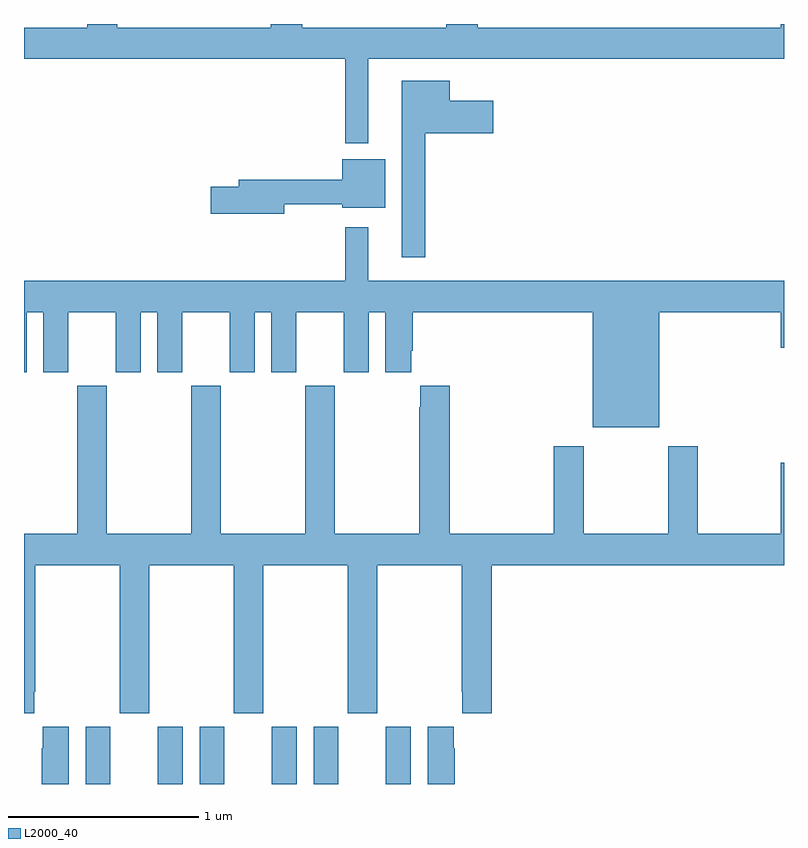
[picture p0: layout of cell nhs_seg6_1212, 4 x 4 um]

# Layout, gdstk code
import gdstk
lib = gdstk.Library(unit=1e-6, precision=1e-09)
def R(c, l, rs):  # rectangles x0, y0, x1, y1
    for r in rs: c.add(gdstk.rectangle(r[:2], r[2:], *l))
def P(c, l, *ps):  # polygons
    for p in ps: c.add(gdstk.Polygon(p, *l))
L2000_40 = (2000, 40)

nhs_seg6_1212 = lib.new_cell('nhs_seg6_1212')
R(nhs_seg6_1212, L2000_40, [(185.324,963.5,185.455,963.802), (185.705,963.5,185.836,963.802), (185.924,963.5,186.055,963.802), (186.305,963.5,186.436,963.802), (186.524,963.5,186.655,963.802), (186.905,963.5,187.036,963.802)])
P(nhs_seg6_1212, L2000_40, [(185.332,967.48),(185,967.48),(185,967.316),(186.69,967.316),(186.69,966.872),(186.811,966.872),(186.811,967.316),(189,967.316),(189,967.5),(188.984,967.5),(188.984,967.48),(187.388,967.48),(187.388,967.5),(187.223,967.5),(187.223,967.48),(186.464,967.48),(186.464,967.5),(186.299,967.5),(186.299,967.48),(185.492,967.48),(185.492,967.5),(185.332,967.5)],
  [(187.111,966.926),(187.471,966.926),(187.471,967.096),(187.24,967.096),(187.24,967.201),(186.989,967.201),(186.989,966.273),(187.111,966.273)],
  [(186.37,966.552),(186.674,966.552),(186.674,966.533),(186.901,966.533),(186.901,966.787),(186.674,966.787),(186.674,966.68),(186.131,966.68),(186.131,966.644),(185.982,966.644),(185.982,966.502),(186.37,966.502)],
  [(188.344,965.984),(188.984,965.984),(188.984,965.796),(189,965.796),(189,966.148),(186.811,966.148),(186.811,966.43),(186.69,966.43),(186.69,966.148),(185,966.148),(185,965.667),(185.014,965.667),(185.014,965.984),(185.102,965.984),(185.102,965.667),(185.233,965.667),(185.233,965.984),(185.483,965.984),(185.483,965.667),(185.614,965.667),(185.614,965.984),(185.702,965.984),(185.702,965.667),(185.833,965.667),(185.833,965.984),(186.083,965.984),(186.083,965.667),(186.214,965.667),(186.214,965.984),(186.302,965.984),(186.302,965.667),(186.433,965.667),(186.433,965.984),(186.683,965.984),(186.683,965.667),(186.814,965.667),(186.814,965.984),(186.902,965.984),(186.902,965.667),(187.039,965.667),(187.039,965.779),(187.046,965.779),(187.046,965.984),(187.994,965.984),(187.994,965.378),(188.344,965.378)],
  [(185.053,963.985),(185.058,963.985),(185.058,964.652),(185.503,964.652),(185.503,963.873),(185.658,963.873),(185.658,964.652),(186.103,964.652),(186.103,963.873),(186.258,963.873),(186.258,964.652),(186.703,964.652),(186.703,963.873),(186.858,963.873),(186.858,964.652),(187.303,964.652),(187.303,963.985),(187.307,963.985),(187.307,963.873),(187.463,963.873),(187.463,964.652),(189,964.652),(189,965.191),(188.984,965.191),(188.984,964.816),(188.547,964.816),(188.547,965.278),(188.392,965.278),(188.392,964.816),(187.947,964.816),(187.947,965.278),(187.787,965.278),(187.787,964.816),(187.241,964.816),(187.241,965.596),(187.085,965.596),(187.085,965.483),(187.081,965.483),(187.081,964.816),(186.636,964.816),(186.636,965.596),(186.481,965.596),(186.481,964.816),(186.036,964.816),(186.036,965.596),(185.881,965.596),(185.881,964.816),(185.436,964.816),(185.436,965.596),(185.281,965.596),(185.281,964.816),(185,964.816),(185,963.873),(185.053,963.873)],
  [(187.268,963.689),(187.261,963.689),(187.261,963.802),(187.124,963.802),(187.124,963.5),(187.268,963.5)],
  [(185.236,963.802),(185.099,963.802),(185.099,963.689),(185.093,963.689),(185.093,963.5),(185.236,963.5)])

lib.write_gds('nhs_seg6_1212.gds')
